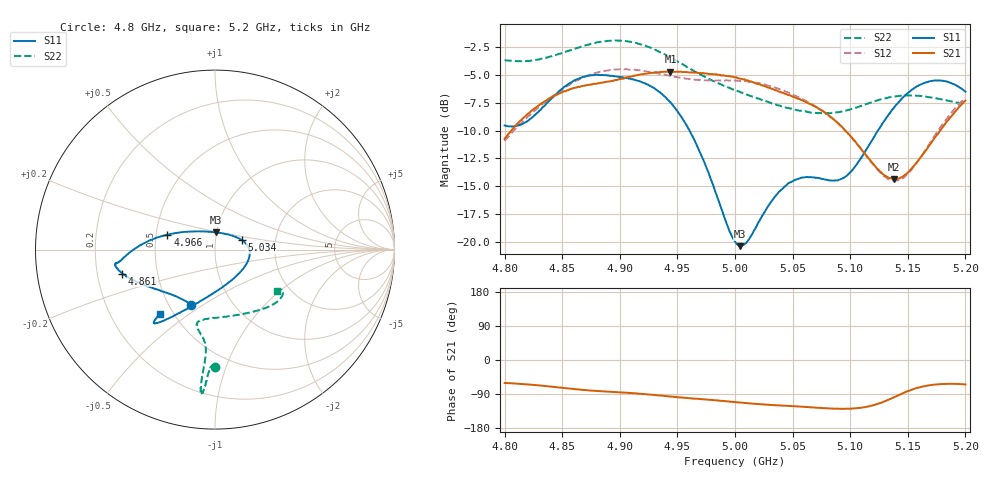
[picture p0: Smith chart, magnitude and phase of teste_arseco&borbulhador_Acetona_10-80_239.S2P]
! Network Analyzer HP8722D
! Hewlett-Packard
! Data name: Linha & Wilkinson
! Saver's name: Rodrigo Anjos
! Comments: Teste da utilização de aquisição
! continua pelo VNA HP8722D
! Time and date: 17/4/2025 16:21
!  Frequency  S11  S21  S12  S22
# HZ  S  MA R 50
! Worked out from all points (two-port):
!   401 points, 4.8 GHz to 5.2 GHz, reference 50 ohm
!   highest |S21| = -4.69 dB at 4.944 GHz (marker M1); lowest = -14.4 dB at 5.138 GHz (marker M2)
!   |S21| within 3 dB of the highest: 4.83 GHz to 5.067 GHz (236.9 MHz wide, 4.79 % of centre); 5.196274 GHz to end of sweep
!   lowest |S11| = -20.4 dB at 5.004 GHz (marker M3), VSWR 1.21, Z = 49.7 + j9.56 ohm
!   |S11| at or under -10 dB: 4.961 GHz to 5.124 GHz (163.5 MHz wide, 3.24 % of centre)
!   |S22| runs from -8.5 to -1.9 dB; largest |S21 - S12| = 0.88
!   S11 on the Smith chart (normalised r, x): 4.8 GHz: 0.65, -0.45; 4.861 GHz: 0.31, -0.12; 4.966 GHz: 0.57, +0.10; 5.034 GHz: 1.34, +0.15; 5.2 GHz: 0.42, -0.39
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4.8e9  0.3336 -113.4  0.2901 -60.7  0.2838 -175.0  0.656 -90.1
4.819e9  0.347 -133.4  0.3714 -64.0  0.3594 -173.6  0.6504 -91.7
4.861e9  0.5337 -165.5  0.4923 -77.1  0.5259 -176.8  0.7384 -93.8
4.867e9  0.549 -167.8  0.5014 -78.8  0.5439 -177.8  0.7562 -94.0
4.899e9  0.5517 -172.4  0.5371 -85.2  0.597 175.6  0.8019 -95.4
4.934e9  0.4736 -178.3  0.5777 -93.6  0.5711 171.8  0.7157 -95.8
4.944e9  0.424 177.3  0.5827 -96.2  0.556 171.9  0.6757 -95.5
4.966e9  0.2777 162.6  0.5763 -101.9  0.5347 173.7  0.58 -95.0
5e9  0.1003 100.8  0.5488 -111.3  0.5324 176.1  0.4795 -99.1
5.004e9  0.09551 86.6  0.5424 -112.2  0.5288 176.1  0.4731 -100.0
5.012e9  0.1022 60.1  0.5276 -114.3  0.524 175.9  0.4559 -101.8
5.034e9  0.1579 20.1  0.4825 -119.1  0.4946 174.8  0.4167 -103.5
5.048e9  0.185 5.8  0.455 -121.3  0.4643 174.2  0.3971 -100.2
5.067e9  0.1948 -14.4  0.4128 -124.9  0.4145 173.8  0.3808 -90.4
5.087e9  0.1885 -46.5  0.3499 -128.6  0.3492 173.6  0.3815 -75.4
5.097e9  0.1979 -67.0  0.3113 -128.8  0.3119 174.7  0.3895 -67.1
5.134e9  0.3765 -116.6  0.1933 -103.9  0.19 -156.8  0.4463 -43.0
5.138e9  0.4016 -119.0  0.1911 -98.2  0.1877 -150.4  0.4496 -41.1
5.151e9  0.4706 -124.7  0.2068 -81.0  0.2049 -130.6  0.4554 -36.4
5.17e9  0.5279 -129.0  0.2764 -66.2  0.2823 -112.4  0.4458 -32.0
5.184e9  0.5248 -130.3  0.3481 -63.1  0.359 -107.2  0.4323 -31.1
5.2e9  0.4731 -130.6  0.4314 -64.4  0.444 -106.5  0.4151 -33.3
